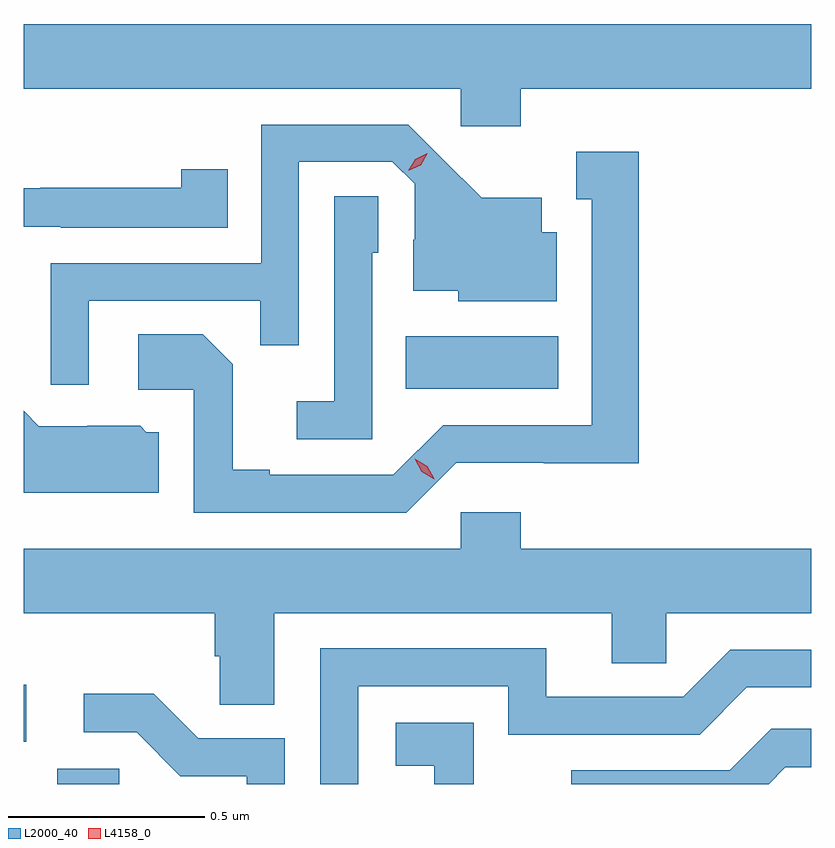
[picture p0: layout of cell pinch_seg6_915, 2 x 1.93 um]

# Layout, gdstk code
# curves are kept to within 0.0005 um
import gdstk
lib = gdstk.Library(unit=1e-6, precision=1e-09)
def R(c, l, rs):  # rectangles x0, y0, x1, y1
    for r in rs: c.add(gdstk.rectangle(r[:2], r[2:], *l))
def P(c, l, *ps):  # polygons
    for p in ps: c.add(gdstk.Polygon(p, *l))
L2000_40 = (2000, 40)
L4158_0 = (4158, 0)

pinch_seg6_915 = lib.new_cell('pinch_seg6_915')
R(pinch_seg6_915, L2000_40, [(154.244,920.263,154.401,920.302), (154.158,920.37,154.165,920.515), (155.128,921.266,155.515,921.4)])
P(pinch_seg6_915, L2000_40, [(155.42,922.028),(156.158,922.028),(156.158,922.192),(154.158,922.192),(154.158,922.028),(155.268,922.028),(155.268,921.933),(155.42,921.933)],
  [(154.323,921.489),(154.759,921.489),(154.759,921.376),(154.857,921.376),(154.857,921.843),(155.094,921.843),(155.151,921.786),(155.151,921.644),(155.147,921.644),(155.147,921.515),(155.262,921.515),(155.262,921.488),(155.512,921.488),(155.512,921.664),(155.473,921.664),(155.473,921.751),(155.321,921.751),(155.134,921.936),(154.761,921.936),(154.761,921.585),(154.227,921.585),(154.227,921.276),(154.323,921.276)],
  [(155.256,921.078),(155.478,921.078),(155.478,921.077),(155.719,921.077),(155.719,921.868),(155.561,921.868),(155.561,921.747),(155.6,921.747),(155.6,921.174),(155.223,921.174),(155.097,921.048),(154.783,921.048),(154.783,921.061),(154.689,921.061),(154.689,921.328),(154.613,921.404),(154.449,921.404),(154.449,921.264),(154.59,921.264),(154.59,920.952),(155.13,920.952)],
  [(154.676,921.823),(154.558,921.823),(154.558,921.776),(154.201,921.776),(154.201,921.775),(154.158,921.775),(154.158,921.678),(154.252,921.678),(154.252,921.675),(154.676,921.675)],
  [(155.043,921.612),(155.058,921.612),(155.058,921.755),(154.947,921.755),(154.947,921.235),(154.851,921.235),(154.851,921.138),(155.043,921.138)],
  [(154.501,921.156),(154.47,921.156),(154.454,921.172),(154.32,921.172),(154.32,921.171),(154.197,921.171),(154.158,921.21),(154.158,921.002),(154.501,921.002)],
  [(154.795,920.696),(155.651,920.696),(155.651,920.569),(155.79,920.569),(155.79,920.696),(156.158,920.696),(156.158,920.86),(155.42,920.86),(155.42,920.953),(155.268,920.953),(155.268,920.86),(154.158,920.86),(154.158,920.696),(154.643,920.696),(154.643,920.587),(154.656,920.587),(154.656,920.464),(154.795,920.464)],
  [(155.007,920.511),(155.388,920.511),(155.388,920.388),(155.874,920.388),(155.994,920.508),(156.158,920.508),(156.158,920.604),(155.952,920.604),(155.832,920.484),(155.485,920.484),(155.485,920.607),(154.911,920.607),(154.911,920.263),(155.007,920.263)],
  [(154.821,920.379),(154.602,920.379),(154.489,920.492),(154.311,920.492),(154.311,920.394),(154.445,920.394),(154.556,920.283),(154.725,920.283),(154.725,920.263),(154.821,920.263)],
  [(155.301,920.419),(155.103,920.419),(155.103,920.309),(155.201,920.309),(155.201,920.263),(155.301,920.263)],
  [(156.092,920.306),(156.158,920.306),(156.158,920.403),(156.056,920.403),(155.951,920.298),(155.548,920.298),(155.548,920.263),(156.049,920.263)])
P(pinch_seg6_915, L4158_0, [(155.201,921.037),(155.169,921.056),(155.151,921.089),(155.151,921.089),(155.151,921.089),(155.183,921.07),(155.201,921.038),(155.201,921.037)],
  [(155.135,921.819),(155.135,921.819),(155.152,921.849),(155.183,921.864),(155.183,921.864),(155.183,921.863),(155.166,921.834),(155.135,921.819)])

lib.write_gds('pinch_seg6_915.gds')
